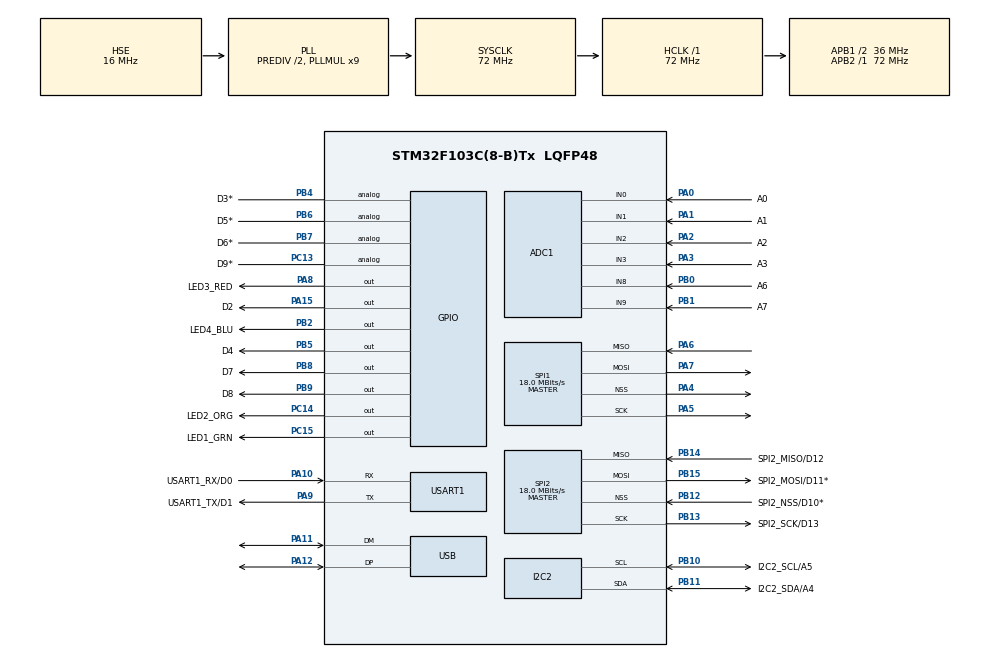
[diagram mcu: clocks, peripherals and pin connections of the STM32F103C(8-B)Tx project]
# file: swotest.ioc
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ADC1.Channel-3\#ChannelRegularConversion=ADC_CHANNEL_0
ADC1.NbrOfConversionFlag=1
ADC1.Rank-3\#ChannelRegularConversion=1
ADC1.SamplingTime-3\#ChannelRegularConversion=ADC_SAMPLETIME_1CYCLE_5
ADC1.master=1
Mcu.Family=STM32F1
Mcu.Name=STM32F103C(8-B)Tx
Mcu.Package=LQFP48
NVIC.PriorityGroup=NVIC_PRIORITYGROUP_4
PA0-WKUP.GPIO_Label=A0
PA0-WKUP.Signal=ADCx_IN0
PA1.GPIO_Label=A1
PA1.Signal=ADCx_IN1
PA10.GPIO_Label=USART1_RX/D0
PA10.Mode=Asynchronous
PA10.Signal=USART1_RX
PA11.Mode=Device
PA11.Signal=USB_DM
PA12.Mode=Device
PA12.Signal=USB_DP
PA13.Mode=Trace_Asynchronous_SW
PA13.Signal=SYS_JTMS-SWDIO
PA14.Mode=Trace_Asynchronous_SW
PA14.Signal=SYS_JTCK-SWCLK
PA15.GPIO_Label=D2
PA15.Signal=GPIO_Output
PA2.GPIO_Label=A2
PA2.Signal=ADCx_IN2
PA3.GPIO_Label=A3
PA3.Signal=ADCx_IN3
PA4.Mode=NSS_Signal_Hard_Output
PA4.Signal=SPI1_NSS
PA5.Mode=Full_Duplex_Master
PA5.Signal=SPI1_SCK
PA6.Mode=Full_Duplex_Master
PA6.Signal=SPI1_MISO
PA7.Mode=Full_Duplex_Master
PA7.Signal=SPI1_MOSI
PA8.GPIO_Label=LED3_RED
PA8.Signal=GPIO_Output
PA9.GPIO_Label=USART1_TX/D1
PA9.Mode=Asynchronous
PA9.Signal=USART1_TX
PB0.GPIO_Label=A6
PB0.Signal=ADCx_IN8
PB1.GPIO_Label=A7
PB1.Signal=ADCx_IN9
PB10.GPIO_Label=I2C2_SCL/A5
PB10.Mode=I2C
PB10.Signal=I2C2_SCL
PB11.GPIO_Label=I2C2_SDA/A4
PB11.Mode=I2C
PB11.Signal=I2C2_SDA
PB12.GPIO_Label=SPI2_NSS/D10*
PB12.Mode=NSS_Signal_Hard_Input
PB12.Signal=SPI2_NSS
PB13.GPIO_Label=SPI2_SCK/D13
PB13.Mode=Full_Duplex_Master
PB13.Signal=SPI2_SCK
PB14.GPIO_Label=SPI2_MISO/D12
PB14.Mode=Full_Duplex_Master
PB14.Signal=SPI2_MISO
PB15.GPIO_Label=SPI2_MOSI/D11*
PB15.Mode=Full_Duplex_Master
PB15.Signal=SPI2_MOSI
PB2.GPIO_Label=LED4_BLU
PB2.Signal=GPIO_Output
PB3.Mode=Trace_Asynchronous_SW
PB3.Signal=SYS_JTDO-TRACESWO
PB4.GPIO_Label=D3*
PB4.Signal=GPIO_Analog
PB5.GPIO_Label=D4
PB5.Signal=GPIO_Output
PB6.GPIO_Label=D5*
PB6.Signal=GPIO_Analog
PB7.GPIO_Label=D6*
PB7.Signal=GPIO_Analog
PB8.GPIO_Label=D7
PB8.Signal=GPIO_Output
PB9.GPIO_Label=D8
PB9.Signal=GPIO_Output
PC13-TAMPER-RTC.GPIO_Label=D9*
PC13-TAMPER-RTC.Signal=GPIO_Analog
PC14-OSC32_IN.GPIO_Label=LED2_ORG
PC14-OSC32_IN.Signal=GPIO_Output
PC15-OSC32_OUT.GPIO_Label=LED1_GRN
PC15-OSC32_OUT.Signal=GPIO_Output
PD0-OSC_IN.Mode=HSE-External-Oscillator
PD0-OSC_IN.Signal=RCC_OSC_IN
PD1-OSC_OUT.Mode=HSE-External-Oscillator
PD1-OSC_OUT.Signal=RCC_OSC_OUT
ProjectManager.HeapSize=0x200
ProjectManager.StackSize=0x400
ProjectManager.TargetToolchain=STM32CubeIDE
RCC.ADCPresc=RCC_ADCPCLK2_DIV6
RCC.AHBFreq_Value=72000000
RCC.APB1CLKDivider=RCC_HCLK_DIV2
RCC.APB1Freq_Value=36000000
RCC.APB1TimFreq_Value=72000000
RCC.APB2Freq_Value=72000000
RCC.APB2TimFreq_Value=72000000
RCC.HCLKFreq_Value=72000000
RCC.HSEDivPLL=RCC_HSE_PREDIV_DIV2
RCC.HSE_VALUE=16000000
RCC.PLLMUL=RCC_PLL_MUL9
RCC.PLLSourceVirtual=RCC_PLLSOURCE_HSE
RCC.SYSCLKFreq_VALUE=72000000
RCC.SYSCLKSource=RCC_SYSCLKSOURCE_PLLCLK
RCC.USBFreq_Value=48000000
RCC.USBPrescaler=RCC_USBCLKSOURCE_PLL_DIV1_5
SH.ADCx_IN0.0=ADC1_IN0,IN0
SH.ADCx_IN1.0=ADC1_IN1,IN1
SH.ADCx_IN2.0=ADC1_IN2,IN2
SH.ADCx_IN3.0=ADC1_IN3,IN3
SH.ADCx_IN8.0=ADC1_IN8,IN8
SH.ADCx_IN9.0=ADC1_IN9,IN9
SPI1.BaudRatePrescaler=SPI_BAUDRATEPRESCALER_4
SPI1.CalculateBaudRate=18.0 MBits/s
SPI1.Direction=SPI_DIRECTION_2LINES
SPI1.Mode=SPI_MODE_MASTER
SPI1.VirtualNSS=VM_NSSHARD
SPI1.VirtualType=VM_MASTER
SPI2.CalculateBaudRate=18.0 MBits/s
SPI2.Direction=SPI_DIRECTION_2LINES
SPI2.Mode=SPI_MODE_MASTER
SPI2.VirtualNSS=VM_NSSHARD
SPI2.VirtualType=VM_MASTER
USART1.VirtualMode=VM_ASYNC
VP_ADC1_TempSens_Input.Mode=IN-TempSens
VP_ADC1_Vref_Input.Mode=IN-Vrefint
board=custom

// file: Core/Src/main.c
/* USER CODE BEGIN Header */
/**
  ******************************************************************************
  * @file           : main.c
  * @brief          : Main program body
  ******************************************************************************
  * @attention
  *
  * Copyright (c) 2023 STMicroelectronics.
  * All rights reserved.
  *
  * This software is licensed under terms that can be found in the LICENSE file
  * in the root directory of this software component.
  * If no LICENSE file comes with this software, it is provided AS-IS.
  *
  ******************************************************************************
  */
/* USER CODE END Header */
#include "main.h"
#include "adc.h"
#include "i2c.h"
#include "spi.h"
#include "usart.h"
#include "usb.h"
#include "gpio.h"

void SystemClock_Config(void);

int main(void)
{
  /* USER CODE BEGIN 1 */
  DBG=Debugger_create(0);
  /* USER CODE END 1 */

  /* MCU Configuration--------------------------------------------------------*/

  /* Reset of all peripherals, Initializes the Flash interface and the Systick. */
  HAL_Init();

  /* Configure the system clock */
  SystemClock_Config();

  /* Initialize all configured peripherals */
  MX_GPIO_Init();
  MX_ADC1_Init();
  MX_SPI2_Init();
  MX_USART1_UART_Init();
  MX_USB_PCD_Init();
  MX_SPI1_Init();
  MX_I2C2_Init();
  /* USER CODE BEGIN 2 */
  uint32_t tick1 = 0;
  uint32_t tick2 = 0;
  uint32_t counter = 0;
  uint8_t ledPattern = 1;
  int8_t ledDirection = 1;
  Debugger_log(DBG, "Hello World.\n");
  /* USER CODE END 2 */

  /* Infinite loop */
  /* USER CODE BEGIN WHILE */
  while (1)
  {
      if(HAL_GetTick() - tick1 >= 1000) {
          tick1=HAL_GetTick();
          Debugger_log(DBG, "counter=%lu\n", counter++);
      }
      if(HAL_GetTick() - tick2 >= 500) {
          tick2=HAL_GetTick();

          if(ledDirection > 0) {
              ledPattern = ledPattern << 1;
              if(ledPattern & 8) ledDirection=-1;
          } else {
              ledPattern = ledPattern >> 1;
              if(ledPattern & 1) ledDirection=1;
          }
          HAL_GPIO_WritePin(LED3_RED_GPIO_Port, LED3_RED_Pin, (ledPattern & 1) ? GPIO_PIN_RESET : GPIO_PIN_SET);
          HAL_GPIO_WritePin(LED2_ORG_GPIO_Port, LED2_ORG_Pin, (ledPattern & 2) ? GPIO_PIN_RESET : GPIO_PIN_SET);
          HAL_GPIO_WritePin(LED1_GRN_GPIO_Port, LED1_GRN_Pin, (ledPattern & 4) ? GPIO_PIN_RESET : GPIO_PIN_SET);
          HAL_GPIO_WritePin(LED4_BLU_GPIO_Port, LED4_BLU_Pin, (ledPattern & 8) ? GPIO_PIN_RESET : GPIO_PIN_SET);
      }

      /* USER CODE END WHILE */

  }
}

void SystemClock_Config(void)
{
  RCC_OscInitTypeDef RCC_OscInitStruct = {0};
  RCC_ClkInitTypeDef RCC_ClkInitStruct = {0};
  RCC_PeriphCLKInitTypeDef PeriphClkInit = {0};

  /** Initializes the RCC Oscillators according to the specified parameters
  * in the RCC_OscInitTypeDef structure.
  */
  RCC_OscInitStruct.OscillatorType = RCC_OSCILLATORTYPE_HSE;
  RCC_OscInitStruct.HSEState = RCC_HSE_ON;
  RCC_OscInitStruct.HSEPredivValue = RCC_HSE_PREDIV_DIV2;
  RCC_OscInitStruct.HSIState = RCC_HSI_ON;
  RCC_OscInitStruct.PLL.PLLState = RCC_PLL_ON;
  RCC_OscInitStruct.PLL.PLLSource = RCC_PLLSOURCE_HSE;
  RCC_OscInitStruct.PLL.PLLMUL = RCC_PLL_MUL9;
  if (HAL_RCC_OscConfig(&RCC_OscInitStruct) != HAL_OK)
  {
    Error_Handler();
  }

  /** Initializes the CPU, AHB and APB buses clocks
  */
  RCC_ClkInitStruct.ClockType = RCC_CLOCKTYPE_HCLK|RCC_CLOCKTYPE_SYSCLK
                              |RCC_CLOCKTYPE_PCLK1|RCC_CLOCKTYPE_PCLK2;
  RCC_ClkInitStruct.SYSCLKSource = RCC_SYSCLKSOURCE_PLLCLK;
  RCC_ClkInitStruct.AHBCLKDivider = RCC_SYSCLK_DIV1;
  RCC_ClkInitStruct.APB1CLKDivider = RCC_HCLK_DIV2;
  RCC_ClkInitStruct.APB2CLKDivider = RCC_HCLK_DIV1;

  if (HAL_RCC_ClockConfig(&RCC_ClkInitStruct, FLASH_LATENCY_2) != HAL_OK)
  {
    Error_Handler();
  }
  PeriphClkInit.PeriphClockSelection = RCC_PERIPHCLK_ADC|RCC_PERIPHCLK_USB;
  PeriphClkInit.AdcClockSelection = RCC_ADCPCLK2_DIV6;
  PeriphClkInit.UsbClockSelection = RCC_USBCLKSOURCE_PLL_DIV1_5;
  if (HAL_RCCEx_PeriphCLKConfig(&PeriphClkInit) != HAL_OK)
  {
    Error_Handler();
  }
}

void Error_Handler(void)
{
  __disable_irq();
  while (1)
  {
  }
}
